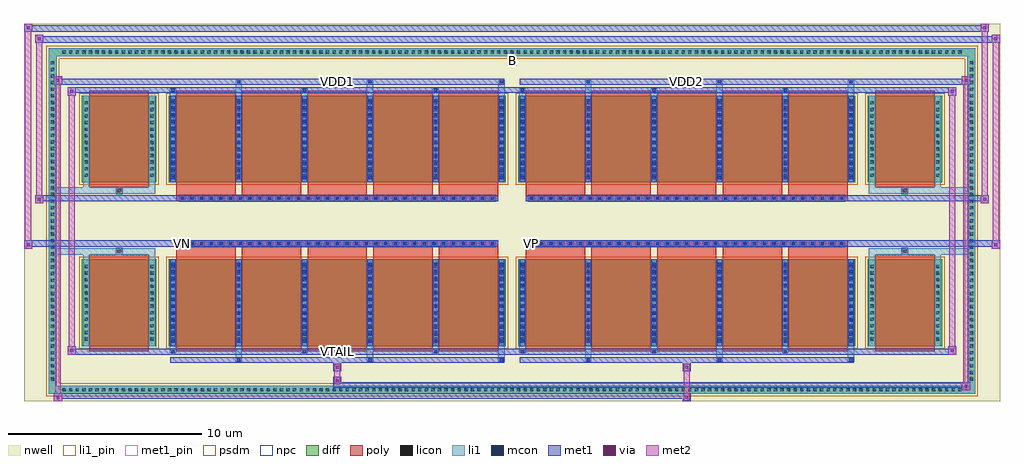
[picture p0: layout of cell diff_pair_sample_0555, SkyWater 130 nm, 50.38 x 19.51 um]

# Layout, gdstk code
import gdstk
lib = gdstk.Library(unit=1e-6, precision=5e-09)
def R(c, l, rs):  # rectangles x0, y0, x1, y1
    for r in rs: c.add(gdstk.rectangle(r[:2], r[2:], *l))
def A(c, l, x, y, w, h, nx, ny, dx, dy):  # array of equal rectangles
    R(c, l, [(x+i*dx, y+j*dy, x+i*dx+w, y+j*dy+h) for i in range(nx) for j in range(ny)])
def P(c, l, *ps):  # polygons
    for p in ps: c.add(gdstk.Polygon(p, *l))
nwell = (64, 20)
diff = (65, 20)
poly = (66, 20)
licon = (66, 44)
li1_pin = (67, 16)
li1 = (67, 20)
mcon = (67, 44)
met1_pin = (68, 16)
met1 = (68, 20)
via = (68, 44)
met2 = (69, 20)
psdm = (94, 20)
npc = (95, 20)

diff_pair_sample_0555 = lib.new_cell('diff_pair_sample_0555')
R(diff_pair_sample_0555, nwell, [(-25.19,-9.32,25.19,10.19), (-22.51,-7.51,-0.01,-0.805), (0.01,-7.51,22.51,-0.805), (-22.51,0.805,-0.01,7.51), (0.01,0.805,22.51,7.51)])
A(diff_pair_sample_0555, diff, -23.325, -8.92, 0.41, 0.41, 137, 2, 0.34, 17.43)
A(diff_pair_sample_0555, diff, -23.92, -8.365, 0.41, 0.41, 1, 49, 0, 0.34)
A(diff_pair_sample_0555, diff, 23.51, -8.365, 0.41, 0.41, 1, 49, 0, 0.34)
R(diff_pair_sample_0555, diff, [(-23.325,-8.92,23.325,-8.51), (-23.92,-8.365,-23.51,8.365), (23.51,-8.365,23.92,8.365), (-22.2,-6.465,-18.36,-1.985), (-17.72,-6.465,-0.32,-1.985), (0.32,-6.465,17.72,-1.985), (18.36,-6.465,22.2,-1.985), (-22.2,1.985,-18.36,6.465), (-17.72,1.985,-0.32,6.465), (0.32,1.985,17.72,6.465), (18.36,1.985,22.2,6.465), (-23.325,8.51,23.325,8.92)])
P(diff_pair_sample_0555, diff, [(23.92,8.92),(-23.92,8.92),(-23.92,-8.51),(-23.51,-8.51),(-23.51,8.51),(23.51,8.51),(23.51,-8.51),(-23.51,-8.51),(-23.92,-8.51),(-23.92,-8.92),(23.92,-8.92)])
A(diff_pair_sample_0555, poly, -17.33, -6.715, 3.06, 4.98, 5, 2, 3.39, 8.45)
A(diff_pair_sample_0555, poly, 0.71, -6.715, 3.06, 4.98, 5, 2, 3.39, 8.45)
A(diff_pair_sample_0555, poly, -17.33, -1.735, 3.06, 0.4, 5, 2, 3.39, 3.07)
A(diff_pair_sample_0555, poly, 0.71, -1.735, 3.06, 0.4, 5, 2, 3.39, 3.07)
A(diff_pair_sample_0555, poly, -17.185, -1.335, 0.33, 0.33, 33, 2, 0.5, 2.34)
A(diff_pair_sample_0555, poly, 0.855, -1.335, 0.33, 0.33, 33, 2, 0.5, 2.34)
R(diff_pair_sample_0555, poly, [(-21.81,-6.715,-18.75,-1.735), (18.75,-6.715,21.81,-1.735), (-20.445,-1.735,-20.115,-1.405), (-20.445,-1.735,-20.115,-1.405), (20.115,-1.735,20.445,-1.405), (20.115,-1.735,20.445,-1.405), (-17.33,-1.335,-0.71,-1.005), (0.71,-1.335,17.33,-1.005), (-17.33,1.005,-0.71,1.335), (0.71,1.005,17.33,1.335), (-20.445,1.405,-20.115,1.735), (-20.445,1.405,-20.115,1.735), (20.115,1.405,20.445,1.735), (20.115,1.405,20.445,1.735), (-21.81,1.735,-18.75,6.715), (18.75,1.735,21.81,6.715)])
A(diff_pair_sample_0555, licon, -23.205, -8.8, 0.17, 0.17, 137, 2, 0.34, 17.43)
A(diff_pair_sample_0555, licon, -23.8, -8.245, 0.17, 0.17, 1, 49, 0, 0.34)
A(diff_pair_sample_0555, licon, 23.63, -8.245, 0.17, 0.17, 1, 49, 0, 0.34)
A(diff_pair_sample_0555, licon, -22.06, -6.18, 0.17, 0.17, 1, 12, 0, 0.34)
A(diff_pair_sample_0555, licon, -18.67, -6.18, 0.17, 0.17, 1, 12, 0, 0.34)
A(diff_pair_sample_0555, licon, -17.58, -6.18, 0.17, 0.17, 6, 12, 3.39, 0.34)
A(diff_pair_sample_0555, licon, 0.46, -6.18, 0.17, 0.17, 6, 12, 3.39, 0.34)
A(diff_pair_sample_0555, licon, 18.5, -6.18, 0.17, 0.17, 1, 12, 0, 0.34)
A(diff_pair_sample_0555, licon, 21.89, -6.18, 0.17, 0.17, 1, 12, 0, 0.34)
A(diff_pair_sample_0555, licon, -17.105, -1.255, 0.17, 0.17, 33, 2, 0.5, 2.34)
A(diff_pair_sample_0555, licon, 0.935, -1.255, 0.17, 0.17, 33, 2, 0.5, 2.34)
A(diff_pair_sample_0555, licon, -22.06, 2.27, 0.17, 0.17, 1, 12, 0, 0.34)
A(diff_pair_sample_0555, licon, -18.67, 2.27, 0.17, 0.17, 1, 12, 0, 0.34)
A(diff_pair_sample_0555, licon, -17.58, 2.27, 0.17, 0.17, 6, 12, 3.39, 0.34)
A(diff_pair_sample_0555, licon, 0.46, 2.27, 0.17, 0.17, 6, 12, 3.39, 0.34)
A(diff_pair_sample_0555, licon, 18.5, 2.27, 0.17, 0.17, 1, 12, 0, 0.34)
A(diff_pair_sample_0555, licon, 21.89, 2.27, 0.17, 0.17, 1, 12, 0, 0.34)
R(diff_pair_sample_0555, licon, [(-20.365,-1.655,-20.195,-1.485), (20.195,-1.655,20.365,-1.485), (-20.365,1.485,-20.195,1.655), (20.195,1.485,20.365,1.655)])
R(diff_pair_sample_0555, li1_pin, [(-0.25,8.01,0.25,8.51)])
A(diff_pair_sample_0555, li1, -23.285, -8.88, 0.33, 0.33, 137, 2, 0.34, 17.43)
A(diff_pair_sample_0555, li1, -23.88, -8.325, 0.33, 0.33, 1, 49, 0, 0.34)
A(diff_pair_sample_0555, li1, 23.55, -8.325, 0.33, 0.33, 1, 49, 0, 0.34)
A(diff_pair_sample_0555, li1, -14.27, -7.27, 0.33, 0.805, 3, 2, 6.78, 13.735)
A(diff_pair_sample_0555, li1, -14.19, -7.27, 0.17, 0.17, 3, 2, 6.78, 14.37)
A(diff_pair_sample_0555, li1, 3.77, -7.27, 0.33, 0.805, 3, 2, 6.78, 13.735)
A(diff_pair_sample_0555, li1, 3.85, -7.27, 0.17, 0.17, 3, 2, 6.78, 14.37)
A(diff_pair_sample_0555, li1, -17.66, -6.84, 0.33, 0.375, 3, 2, 6.78, 13.305)
A(diff_pair_sample_0555, li1, -17.58, -6.84, 0.17, 0.17, 3, 2, 6.78, 13.51)
A(diff_pair_sample_0555, li1, 0.38, -6.84, 0.33, 0.375, 3, 2, 6.78, 13.305)
A(diff_pair_sample_0555, li1, 0.46, -6.84, 0.17, 0.17, 3, 2, 6.78, 13.51)
A(diff_pair_sample_0555, li1, -17.66, -6.465, 0.33, 4.48, 6, 2, 3.39, 8.45)
A(diff_pair_sample_0555, li1, 0.38, -6.465, 0.33, 4.48, 6, 2, 3.39, 8.45)
A(diff_pair_sample_0555, li1, -17.58, -6.29, 0.17, 0.17, 6, 12, 3.39, 0.36)
A(diff_pair_sample_0555, li1, -17.58, -6.29, 0.17, 4.13, 6, 2, 3.39, 8.45)
A(diff_pair_sample_0555, li1, 0.46, -6.29, 0.17, 0.17, 6, 12, 3.39, 0.36)
A(diff_pair_sample_0555, li1, 0.46, -6.29, 0.17, 4.13, 6, 2, 3.39, 8.45)
A(diff_pair_sample_0555, li1, -22.14, -6.26, 0.33, 0.33, 1, 12, 0, 0.34)
A(diff_pair_sample_0555, li1, -18.75, -6.26, 0.33, 0.33, 1, 12, 0, 0.34)
A(diff_pair_sample_0555, li1, -17.66, -6.26, 0.33, 0.33, 6, 12, 3.39, 0.34)
A(diff_pair_sample_0555, li1, 0.38, -6.26, 0.33, 0.33, 6, 12, 3.39, 0.34)
A(diff_pair_sample_0555, li1, 18.42, -6.26, 0.33, 0.33, 1, 12, 0, 0.34)
A(diff_pair_sample_0555, li1, 21.81, -6.26, 0.33, 0.33, 1, 12, 0, 0.34)
A(diff_pair_sample_0555, li1, -17.185, -1.335, 0.33, 0.33, 33, 2, 0.5, 2.34)
A(diff_pair_sample_0555, li1, 0.855, -1.335, 0.33, 0.33, 33, 2, 0.5, 2.34)
A(diff_pair_sample_0555, li1, -17.58, 2.16, 0.17, 0.17, 6, 12, 3.39, 0.36)
A(diff_pair_sample_0555, li1, 0.46, 2.16, 0.17, 0.17, 6, 12, 3.39, 0.36)
A(diff_pair_sample_0555, li1, -22.14, 2.19, 0.33, 0.33, 1, 12, 0, 0.34)
A(diff_pair_sample_0555, li1, -18.75, 2.19, 0.33, 0.33, 1, 12, 0, 0.34)
A(diff_pair_sample_0555, li1, -17.66, 2.19, 0.33, 0.33, 6, 12, 3.39, 0.34)
A(diff_pair_sample_0555, li1, 0.38, 2.19, 0.33, 0.33, 6, 12, 3.39, 0.34)
A(diff_pair_sample_0555, li1, 18.42, 2.19, 0.33, 0.33, 1, 12, 0, 0.34)
A(diff_pair_sample_0555, li1, 21.81, 2.19, 0.33, 0.33, 1, 12, 0, 0.34)
R(diff_pair_sample_0555, li1, [(-23.92,-8.92,-23.51,-8.51), (-23.92,-8.92,-23.51,-8.51), (-23.51,-8.92,23.51,-8.51), (23.51,-8.92,23.92,-8.51), (23.51,-8.92,23.92,-8.51), (-23.92,-8.51,-23.51,8.51), (23.51,-8.51,23.92,8.51), (-22.14,-6.465,-21.81,-1.985), (-18.75,-6.465,-18.42,-1.985), (18.42,-6.465,18.75,-1.985), (21.81,-6.465,22.14,-1.985), (-22.14,-1.985,-21.81,-1.405), (-18.75,-1.985,-18.42,-1.405), (18.42,-1.985,18.75,-1.405), (21.81,-1.985,22.14,-1.405), (-23.92,-1.735,-20.445,-1.405), (-22.14,-1.735,-20.445,-1.405), (-20.445,-1.735,-20.115,-1.405), (-20.115,-1.735,-18.42,-1.405), (18.42,-1.735,20.115,-1.405), (20.115,-1.735,20.445,-1.405), (20.115,-1.735,23.92,-1.405), (20.445,-1.735,22.14,-1.405), (-23.92,1.405,-20.445,1.735), (-22.14,1.405,-20.445,1.735), (-22.14,1.405,-21.81,1.985), (-20.445,1.405,-20.115,1.735), (-20.115,1.405,-18.42,1.735), (-18.75,1.405,-18.42,1.985), (18.42,1.405,20.115,1.735), (18.42,1.405,18.75,1.985), (20.115,1.405,20.445,1.735), (20.115,1.405,23.92,1.735), (20.445,1.405,22.14,1.735), (21.81,1.405,22.14,1.985), (-22.14,1.985,-21.81,6.465), (-18.75,1.985,-18.42,6.465), (18.42,1.985,18.75,6.465), (21.81,1.985,22.14,6.465), (-23.92,8.51,-23.51,8.92), (-23.92,8.51,-23.51,8.92), (-23.51,8.51,23.51,8.92), (23.51,8.51,23.92,8.92), (23.51,8.51,23.92,8.92)])
A(diff_pair_sample_0555, mcon, -14.19, -7.27, 0.17, 0.17, 3, 2, 6.78, 14.37)
A(diff_pair_sample_0555, mcon, 3.85, -7.27, 0.17, 0.17, 3, 2, 6.78, 14.37)
A(diff_pair_sample_0555, mcon, -17.58, -6.84, 0.17, 0.17, 3, 2, 6.78, 13.51)
A(diff_pair_sample_0555, mcon, 0.46, -6.84, 0.17, 0.17, 3, 2, 6.78, 13.51)
A(diff_pair_sample_0555, mcon, -17.58, -6.29, 0.17, 0.17, 6, 12, 3.39, 0.36)
A(diff_pair_sample_0555, mcon, 0.46, -6.29, 0.17, 0.17, 6, 12, 3.39, 0.36)
A(diff_pair_sample_0555, mcon, -17.105, -1.255, 0.17, 0.17, 33, 2, 0.5, 2.34)
A(diff_pair_sample_0555, mcon, 0.935, -1.255, 0.17, 0.17, 33, 2, 0.5, 2.34)
A(diff_pair_sample_0555, mcon, -17.58, 2.16, 0.17, 0.17, 6, 12, 3.39, 0.36)
A(diff_pair_sample_0555, mcon, 0.46, 2.16, 0.17, 0.17, 6, 12, 3.39, 0.36)
R(diff_pair_sample_0555, met1_pin, [(-9.155,-6.88,-8.885,-6.61), (-17.155,-1.295,-16.885,-1.025), (0.885,-1.295,1.155,-1.025), (-9.155,7.06,-8.885,7.33), (8.885,7.06,9.155,7.33)])
A(diff_pair_sample_0555, met1, -14.25, -7.33, 0.29, 0.29, 3, 2, 6.78, 14.37)
A(diff_pair_sample_0555, met1, 3.79, -7.33, 0.29, 0.29, 3, 2, 6.78, 14.37)
A(diff_pair_sample_0555, met1, -17.64, -6.9, 0.29, 0.29, 3, 2, 6.78, 13.51)
A(diff_pair_sample_0555, met1, 0.4, -6.9, 0.29, 0.29, 3, 2, 6.78, 13.51)
A(diff_pair_sample_0555, met1, -17.64, -6.465, 0.29, 4.48, 6, 2, 3.39, 8.45)
A(diff_pair_sample_0555, met1, 0.4, -6.465, 0.29, 4.48, 6, 2, 3.39, 8.45)
A(diff_pair_sample_0555, met1, -17.64, -6.35, 0.29, 0.29, 6, 12, 3.39, 0.36)
A(diff_pair_sample_0555, met1, 0.4, -6.35, 0.29, 0.29, 6, 12, 3.39, 0.36)
A(diff_pair_sample_0555, met1, -17.165, -1.315, 0.29, 0.29, 33, 2, 0.5, 2.34)
A(diff_pair_sample_0555, met1, 0.875, -1.315, 0.29, 0.29, 33, 2, 0.5, 2.34)
A(diff_pair_sample_0555, met1, -17.64, 2.1, 0.29, 0.29, 6, 12, 3.39, 0.36)
A(diff_pair_sample_0555, met1, 0.4, 2.1, 0.29, 0.29, 6, 12, 3.39, 0.36)
R(diff_pair_sample_0555, met1, [(-23.65,-9.32,-23.22,-8.89), (8.805,-9.32,9.235,-8.89), (-23.65,-9.18,9.235,-8.89), (23.22,-8.75,23.65,-8.32), (-9.235,-8.61,23.65,-8.32), (-9.235,-8.47,-8.805,-8.04), (-9.235,-7.76,-8.805,-7.33), (8.805,-7.76,9.235,-7.33), (-17.64,-7.33,-0.4,-7.04), (0.4,-7.33,17.64,-7.04), (-22.94,-6.9,-22.51,-6.47), (-22.94,-6.9,-17.64,-6.61), (-17.64,-6.9,-0.4,-6.61), (-0.4,-6.9,0.4,-6.61), (0.4,-6.9,17.64,-6.61), (17.64,-6.9,22.94,-6.61), (22.51,-6.9,22.94,-6.47), (-25.19,-1.435,-24.76,-1.005), (24.76,-1.435,25.19,-1.005), (-25.19,-1.335,-0.71,-1.005), (-17.33,-1.335,-0.71,-1.005), (0.71,-1.335,17.33,-1.005), (0.71,-1.335,25.19,-1.005), (-24.62,0.905,-24.19,1.335), (24.19,0.905,24.62,1.335), (-24.62,1.005,-17.33,1.335), (-17.33,1.005,-0.71,1.335), (0.71,1.005,17.33,1.335), (17.33,1.005,24.62,1.335), (-22.94,6.47,-22.51,6.9), (22.51,6.47,22.94,6.9), (-22.94,6.61,-17.64,6.9), (-17.64,6.61,-0.4,6.9), (-0.4,6.61,0.4,6.9), (0.4,6.61,17.64,6.9), (17.64,6.61,22.94,6.9), (-23.65,7.04,-23.22,7.47), (-23.65,7.04,-17.64,7.33), (-17.64,7.04,-0.4,7.33), (0.4,7.04,17.64,7.33), (17.64,7.04,23.65,7.33), (23.22,7.04,23.65,7.47), (-24.62,9.19,-24.19,9.62), (-24.62,9.19,-22.51,9.52), (-22.51,9.19,22.51,9.52), (22.51,9.19,25.19,9.52), (24.76,9.19,25.19,9.62), (-25.19,9.76,-24.76,10.19), (-25.19,9.76,-22.51,10.09), (-22.51,9.76,22.51,10.09), (22.51,9.76,24.62,10.09), (24.19,9.76,24.62,10.19)])
R(diff_pair_sample_0555, via, [(-23.51,-9.18,-23.36,-9.03), (8.945,-9.18,9.095,-9.03), (23.36,-8.61,23.51,-8.46), (-9.095,-8.33,-8.945,-8.18), (-9.095,-7.62,-8.945,-7.47), (8.945,-7.62,9.095,-7.47), (-22.8,-6.76,-22.65,-6.61), (22.65,-6.76,22.8,-6.61), (-25.05,-1.295,-24.9,-1.145), (24.9,-1.295,25.05,-1.145), (-24.48,1.045,-24.33,1.195), (24.33,1.045,24.48,1.195), (-22.8,6.61,-22.65,6.76), (22.65,6.61,22.8,6.76), (-23.51,7.18,-23.36,7.33), (23.36,7.18,23.51,7.33), (-24.48,9.33,-24.33,9.48), (24.9,9.33,25.05,9.48), (-25.05,9.9,-24.9,10.05), (24.33,9.9,24.48,10.05)])
R(diff_pair_sample_0555, met2, [(-23.65,-9.32,-23.22,-8.89), (-23.58,-9.32,-23.29,7.47), (-23.29,-9.32,-23.22,-8.89), (-23.6,-9.27,-23.27,-8.94), (8.855,-9.27,9.185,-8.94), (8.855,-8.94,9.185,-7.71), (23.22,-8.75,23.65,-8.32), (23.29,-8.75,23.58,7.47), (23.58,-8.75,23.65,-8.32), (23.27,-8.7,23.6,-8.37), (-9.185,-8.42,-8.855,-8.09), (-9.185,-8.09,-8.855,-7.71), (-9.185,-7.71,-8.855,-7.38), (8.855,-7.71,9.185,-7.38), (-22.94,-6.9,-22.51,-6.47), (-22.87,-6.9,-22.58,6.9), (-22.58,-6.9,-22.51,-6.47), (22.51,-6.9,22.94,-6.47), (22.58,-6.9,22.87,6.9), (22.87,-6.9,22.94,-6.47), (-22.89,-6.85,-22.56,-6.52), (22.56,-6.85,22.89,-6.52), (-25.19,-1.435,-24.76,-1.005), (-25.14,-1.435,-24.81,10.19), (-24.81,-1.435,-24.76,-1.005), (24.76,-1.435,25.19,-1.005), (24.81,-1.435,25.14,9.62), (25.14,-1.435,25.19,-1.005), (-25.14,-1.385,-24.81,-1.055), (24.81,-1.385,25.14,-1.055), (-24.62,0.905,-24.19,1.335), (-24.57,0.905,-24.24,9.62), (-24.24,0.905,-24.19,1.335), (24.19,0.905,24.62,1.335), (24.24,0.905,24.57,10.19), (24.57,0.905,24.62,1.335), (-24.57,0.955,-24.24,1.285), (24.24,0.955,24.57,1.285), (-22.94,6.47,-22.51,6.9), (-22.58,6.47,-22.51,6.9), (22.51,6.47,22.94,6.9), (22.87,6.47,22.94,6.9), (-22.89,6.52,-22.56,6.85), (22.56,6.52,22.89,6.85), (-23.65,7.04,-23.22,7.47), (-23.29,7.04,-23.22,7.47), (23.22,7.04,23.65,7.47), (23.58,7.04,23.65,7.47), (-23.6,7.09,-23.27,7.42), (23.27,7.09,23.6,7.42), (-24.62,9.19,-24.19,9.62), (-24.24,9.19,-24.19,9.62), (24.76,9.19,25.19,9.62), (25.14,9.19,25.19,9.62), (-24.57,9.24,-24.24,9.57), (24.81,9.24,25.14,9.57), (-25.19,9.76,-24.76,10.19), (-24.81,9.76,-24.76,10.19), (24.19,9.76,24.62,10.19), (24.57,9.76,24.62,10.19), (-25.14,9.81,-24.81,10.14), (24.24,9.81,24.57,10.14)])
R(diff_pair_sample_0555, psdm, [(-22.33,-6.595,-18.23,-1.855), (-17.85,-6.595,-0.19,-1.855), (0.19,-6.595,17.85,-1.855), (18.23,-6.595,22.33,-1.855), (-22.33,1.855,-18.23,6.595), (-17.85,1.855,-0.19,6.595), (0.19,1.855,17.85,6.595), (18.23,1.855,22.33,6.595)])
P(diff_pair_sample_0555, psdm, [(24.05,9.05),(-24.05,9.05),(-24.05,-8.38),(-23.38,-8.38),(-23.38,8.38),(23.38,8.38),(23.38,-8.38),(-23.38,-8.38),(-24.05,-8.38),(-24.05,-9.05),(24.05,-9.05)])
A(diff_pair_sample_0555, npc, -17.205, -1.355, 0.37, 0.37, 33, 2, 0.5, 2.34)
A(diff_pair_sample_0555, npc, 0.835, -1.355, 0.37, 0.37, 33, 2, 0.5, 2.34)
R(diff_pair_sample_0555, npc, [(-20.465,-1.755,-20.095,-1.385), (20.095,-1.755,20.465,-1.385), (-17.205,-1.355,-16.335,-0.985), (-17.205,-1.355,-16.335,-0.985), (-16.705,-1.355,-15.835,-0.985), (-16.705,-1.355,-15.835,-0.985), (-16.205,-1.355,-15.335,-0.985), (-16.205,-1.355,-15.335,-0.985), (-15.705,-1.355,-14.835,-0.985), (-15.705,-1.355,-14.835,-0.985), (-15.205,-1.355,-14.335,-0.985), (-15.205,-1.355,-14.335,-0.985), (-14.705,-1.355,-13.835,-0.985), (-14.705,-1.355,-13.835,-0.985), (-14.205,-1.355,-13.335,-0.985), (-14.205,-1.355,-13.335,-0.985), (-13.705,-1.355,-12.835,-0.985), (-13.705,-1.355,-12.835,-0.985), (-13.205,-1.355,-12.335,-0.985), (-13.205,-1.355,-12.335,-0.985), (-12.705,-1.355,-11.835,-0.985), (-12.705,-1.355,-11.835,-0.985), (-12.205,-1.355,-11.335,-0.985), (-12.205,-1.355,-11.335,-0.985), (-11.705,-1.355,-10.835,-0.985), (-11.705,-1.355,-10.835,-0.985), (-11.205,-1.355,-10.335,-0.985), (-11.205,-1.355,-10.335,-0.985), (-10.705,-1.355,-9.835,-0.985), (-10.705,-1.355,-9.835,-0.985), (-10.205,-1.355,-9.335,-0.985), (-10.205,-1.355,-9.335,-0.985), (-9.705,-1.355,-8.835,-0.985), (-9.705,-1.355,-8.835,-0.985), (-9.205,-1.355,-8.335,-0.985), (-9.205,-1.355,-8.335,-0.985), (-8.705,-1.355,-7.835,-0.985), (-8.705,-1.355,-7.835,-0.985), (-8.205,-1.355,-7.335,-0.985), (-8.205,-1.355,-7.335,-0.985), (-7.705,-1.355,-6.835,-0.985), (-7.705,-1.355,-6.835,-0.985), (-7.205,-1.355,-6.335,-0.985), (-7.205,-1.355,-6.335,-0.985), (-6.705,-1.355,-5.835,-0.985), (-6.705,-1.355,-5.835,-0.985), (-6.205,-1.355,-5.335,-0.985), (-6.205,-1.355,-5.335,-0.985), (-5.705,-1.355,-4.835,-0.985), (-5.705,-1.355,-4.835,-0.985), (-5.205,-1.355,-4.335,-0.985), (-5.205,-1.355,-4.335,-0.985), (-4.705,-1.355,-3.835,-0.985), (-4.705,-1.355,-3.835,-0.985), (-4.205,-1.355,-3.335,-0.985), (-4.205,-1.355,-3.335,-0.985), (-3.705,-1.355,-2.835,-0.985), (-3.705,-1.355,-2.835,-0.985), (-3.205,-1.355,-2.335,-0.985), (-3.205,-1.355,-2.335,-0.985), (-2.705,-1.355,-1.835,-0.985), (-2.705,-1.355,-1.835,-0.985), (-2.205,-1.355,-1.335,-0.985), (-2.205,-1.355,-1.335,-0.985), (-1.705,-1.355,-0.835,-0.985), (-1.705,-1.355,-0.835,-0.985), (0.835,-1.355,1.705,-0.985), (0.835,-1.355,1.705,-0.985), (1.335,-1.355,2.205,-0.985), (1.335,-1.355,2.205,-0.985), (1.835,-1.355,2.705,-0.985), (1.835,-1.355,2.705,-0.985), (2.335,-1.355,3.205,-0.985), (2.335,-1.355,3.205,-0.985), (2.835,-1.355,3.705,-0.985), (2.835,-1.355,3.705,-0.985), (3.335,-1.355,4.205,-0.985), (3.335,-1.355,4.205,-0.985), (3.835,-1.355,4.705,-0.985), (3.835,-1.355,4.705,-0.985), (4.335,-1.355,5.205,-0.985), (4.335,-1.355,5.205,-0.985), (4.835,-1.355,5.705,-0.985), (4.835,-1.355,5.705,-0.985), (5.335,-1.355,6.205,-0.985), (5.335,-1.355,6.205,-0.985), (5.835,-1.355,6.705,-0.985), (5.835,-1.355,6.705,-0.985), (6.335,-1.355,7.205,-0.985), (6.335,-1.355,7.205,-0.985), (6.835,-1.355,7.705,-0.985), (6.835,-1.355,7.705,-0.985), (7.335,-1.355,8.205,-0.985), (7.335,-1.355,8.205,-0.985), (7.835,-1.355,8.705,-0.985), (7.835,-1.355,8.705,-0.985), (8.335,-1.355,9.205,-0.985), (8.335,-1.355,9.205,-0.985), (8.835,-1.355,9.705,-0.985), (8.835,-1.355,9.705,-0.985), (9.335,-1.355,10.205,-0.985), (9.335,-1.355,10.205,-0.985), (9.835,-1.355,10.705,-0.985), (9.835,-1.355,10.705,-0.985), (10.335,-1.355,11.205,-0.985), (10.335,-1.355,11.205,-0.985), (10.835,-1.355,11.705,-0.985), (10.835,-1.355,11.705,-0.985), (11.335,-1.355,12.205,-0.985), (11.335,-1.355,12.205,-0.985), (11.835,-1.355,12.705,-0.985), (11.835,-1.355,12.705,-0.985), (12.335,-1.355,13.205,-0.985), (12.335,-1.355,13.205,-0.985), (12.835,-1.355,13.705,-0.985), (12.835,-1.355,13.705,-0.985), (13.335,-1.355,14.205,-0.985), (13.335,-1.355,14.205,-0.985), (13.835,-1.355,14.705,-0.985), (13.835,-1.355,14.705,-0.985), (14.335,-1.355,15.205,-0.985), (14.335,-1.355,15.205,-0.985), (14.835,-1.355,15.705,-0.985), (14.835,-1.355,15.705,-0.985), (15.335,-1.355,16.205,-0.985), (15.335,-1.355,16.205,-0.985), (15.835,-1.355,16.705,-0.985), (15.835,-1.355,16.705,-0.985), (16.335,-1.355,17.205,-0.985), (16.335,-1.355,17.205,-0.985), (-17.205,0.985,-16.335,1.355), (-17.205,0.985,-16.335,1.355), (-16.705,0.985,-15.835,1.355), (-16.705,0.985,-15.835,1.355), (-16.205,0.985,-15.335,1.355), (-16.205,0.985,-15.335,1.355), (-15.705,0.985,-14.835,1.355), (-15.705,0.985,-14.835,1.355), (-15.205,0.985,-14.335,1.355), (-15.205,0.985,-14.335,1.355), (-14.705,0.985,-13.835,1.355), (-14.705,0.985,-13.835,1.355), (-14.205,0.985,-13.335,1.355), (-14.205,0.985,-13.335,1.355), (-13.705,0.985,-12.835,1.355), (-13.705,0.985,-12.835,1.355), (-13.205,0.985,-12.335,1.355), (-13.205,0.985,-12.335,1.355), (-12.705,0.985,-11.835,1.355), (-12.705,0.985,-11.835,1.355), (-12.205,0.985,-11.335,1.355), (-12.205,0.985,-11.335,1.355), (-11.705,0.985,-10.835,1.355), (-11.705,0.985,-10.835,1.355), (-11.205,0.985,-10.335,1.355), (-11.205,0.985,-10.335,1.355), (-10.705,0.985,-9.835,1.355), (-10.705,0.985,-9.835,1.355), (-10.205,0.985,-9.335,1.355), (-10.205,0.985,-9.335,1.355), (-9.705,0.985,-8.835,1.355), (-9.705,0.985,-8.835,1.355), (-9.205,0.985,-8.335,1.355), (-9.205,0.985,-8.335,1.355), (-8.705,0.985,-7.835,1.355), (-8.705,0.985,-7.835,1.355), (-8.205,0.985,-7.335,1.355), (-8.205,0.985,-7.335,1.355), (-7.705,0.985,-6.835,1.355), (-7.705,0.985,-6.835,1.355), (-7.205,0.985,-6.335,1.355), (-7.205,0.985,-6.335,1.355), (-6.705,0.985,-5.835,1.355), (-6.705,0.985,-5.835,1.355), (-6.205,0.985,-5.335,1.355), (-6.205,0.985,-5.335,1.355), (-5.705,0.985,-4.835,1.355), (-5.705,0.985,-4.835,1.355), (-5.205,0.985,-4.335,1.355), (-5.205,0.985,-4.335,1.355), (-4.705,0.985,-3.835,1.355), (-4.705,0.985,-3.835,1.355), (-4.205,0.985,-3.335,1.355), (-4.205,0.985,-3.335,1.355), (-3.705,0.985,-2.835,1.355), (-3.705,0.985,-2.835,1.355), (-3.205,0.985,-2.335,1.355), (-3.205,0.985,-2.335,1.355), (-2.705,0.985,-1.835,1.355), (-2.705,0.985,-1.835,1.355), (-2.205,0.985,-1.335,1.355), (-2.205,0.985,-1.335,1.355), (-1.705,0.985,-0.835,1.355), (-1.705,0.985,-0.835,1.355), (0.835,0.985,1.705,1.355), (0.835,0.985,1.705,1.355), (1.335,0.985,2.205,1.355), (1.335,0.985,2.205,1.355), (1.835,0.985,2.705,1.355), (1.835,0.985,2.705,1.355), (2.335,0.985,3.205,1.355), (2.335,0.985,3.205,1.355), (2.835,0.985,3.705,1.355), (2.835,0.985,3.705,1.355), (3.335,0.985,4.205,1.355), (3.335,0.985,4.205,1.355), (3.835,0.985,4.705,1.355), (3.835,0.985,4.705,1.355), (4.335,0.985,5.205,1.355), (4.335,0.985,5.205,1.355), (4.835,0.985,5.705,1.355), (4.835,0.985,5.705,1.355), (5.335,0.985,6.205,1.355), (5.335,0.985,6.205,1.355), (5.835,0.985,6.705,1.355), (5.835,0.985,6.705,1.355), (6.335,0.985,7.205,1.355), (6.335,0.985,7.205,1.355), (6.835,0.985,7.705,1.355), (6.835,0.985,7.705,1.355), (7.335,0.985,8.205,1.355), (7.335,0.985,8.205,1.355), (7.835,0.985,8.705,1.355), (7.835,0.985,8.705,1.355), (8.335,0.985,9.205,1.355), (8.335,0.985,9.205,1.355), (8.835,0.985,9.705,1.355), (8.835,0.985,9.705,1.355), (9.335,0.985,10.205,1.355), (9.335,0.985,10.205,1.355), (9.835,0.985,10.705,1.355), (9.835,0.985,10.705,1.355), (10.335,0.985,11.205,1.355), (10.335,0.985,11.205,1.355), (10.835,0.985,11.705,1.355), (10.835,0.985,11.705,1.355), (11.335,0.985,12.205,1.355), (11.335,0.985,12.205,1.355), (11.835,0.985,12.705,1.355), (11.835,0.985,12.705,1.355), (12.335,0.985,13.205,1.355), (12.335,0.985,13.205,1.355), (12.835,0.985,13.705,1.355), (12.835,0.985,13.705,1.355), (13.335,0.985,14.205,1.355), (13.335,0.985,14.205,1.355), (13.835,0.985,14.705,1.355), (13.835,0.985,14.705,1.355), (14.335,0.985,15.205,1.355), (14.335,0.985,15.205,1.355), (14.835,0.985,15.705,1.355), (14.835,0.985,15.705,1.355), (15.335,0.985,16.205,1.355), (15.335,0.985,16.205,1.355), (15.835,0.985,16.705,1.355), (15.835,0.985,16.705,1.355), (16.335,0.985,17.205,1.355), (16.335,0.985,17.205,1.355), (-20.465,1.385,-20.095,1.755), (20.095,1.385,20.465,1.755)])
diff_pair_sample_0555.add(gdstk.Label('VTAIL', (-9.02,-6.745), layer=68, texttype=5))
diff_pair_sample_0555.add(gdstk.Label('VN', (-17.02,-1.16), layer=68, texttype=5))
diff_pair_sample_0555.add(gdstk.Label('VP', (1.02,-1.16), layer=68, texttype=5))
diff_pair_sample_0555.add(gdstk.Label('B', (0,8.26), layer=67, texttype=5))
diff_pair_sample_0555.add(gdstk.Label('VDD2', (9.02,7.195), layer=68, texttype=5))
diff_pair_sample_0555.add(gdstk.Label('VDD1', (-9.02,7.195), layer=68, texttype=5))

lib.write_gds('diff_pair_sample_0555.gds')
